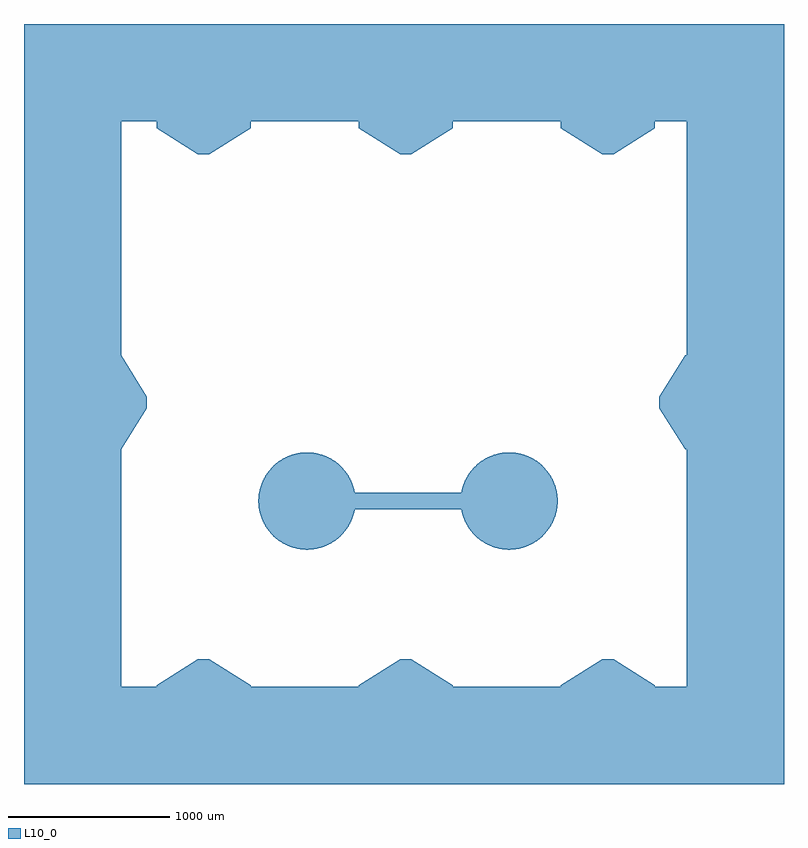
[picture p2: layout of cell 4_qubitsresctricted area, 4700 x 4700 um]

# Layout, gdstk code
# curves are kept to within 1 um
import gdstk
lib = gdstk.Library(unit=1e-6, precision=1e-09)
def R(c, l, rs):  # rectangles x0, y0, x1, y1
    for r in rs: c.add(gdstk.rectangle(r[:2], r[2:], *l))
def P(c, l, *ps):  # polygons
    for p in ps: c.add(gdstk.Polygon(p, *l))
L10_0 = (10, 0)

c_4_qubitsresctricted_area = lib.new_cell('4_qubitsresctricted area')
R(c_4_qubitsresctricted_area, L10_0, [(1977,1700,2773,1800)])
P(c_4_qubitsresctricted_area, L10_0, [(4700,0),(4700,4700),(0,4700),(0,600),(600,600),(600,2069),(760,2325),(760,2395),(600,2651),(600,4100),(820,4100),(820,4055),(1076,3895),(1146,3895),(1402,4055),(1402,4100),(2070,4100),(2070,4055),(2326,3895),(2396,3895),(2652,4055),(2652,4100),(3320,4100),(3320,4055),(3576,3895),(3646,3895),(3902,4055),(3902,4100),(4100,4100),(4100,2651),(4090,2651),(3930,2395),(3930,2325),(4090,2069),(4100,2069),(4100,600),(3902,600),(3902,610),(3646,770),(3576,770),(3320,610),(3320,600),(2652,600),(2652,610),(2396,770),(2326,770),(2070,610),(2070,600),(1402,600),(1402,610),(1146,770),(1076,770),(820,610),(820,600),(0,600),(0,0)],
  [(1450,1750),(2050,1750),(2048.54,1779.559),(2044.175,1808.83),(2036.947,1837.528),(2026.927,1865.375),(2014.212,1892.099),(1998.926,1917.44),(1981.217,1941.151),(1961.258,1963.003),(1939.243,1982.781),(1915.387,2000.294),(1889.921,2015.372),(1863.093,2027.867),(1835.165,2037.658),(1811.247,2043.682),(1782.013,2048.287),(1752.467,2049.99),(1722.898,2048.773),(1693.592,2044.649),(1664.835,2037.658),(1636.907,2027.867),(1610.079,2015.372),(1584.613,2000.294),(1560.757,1982.781),(1538.742,1963.003),(1518.783,1941.151),(1501.074,1917.44),(1485.788,1892.099),(1473.073,1865.375),(1463.053,1837.528),(1455.825,1808.83),(1451.46,1779.559)],
  [(2050,1750),(1450,1750),(1451.46,1720.441),(1455.825,1691.17),(1463.053,1662.472),(1473.073,1634.625),(1485.788,1607.901),(1501.074,1582.56),(1518.783,1558.849),(1538.742,1536.997),(1560.757,1517.219),(1584.613,1499.706),(1610.079,1484.628),(1636.907,1472.133),(1664.835,1462.342),(1688.753,1456.318),(1717.987,1451.713),(1747.533,1450.01),(1777.102,1451.227),(1806.408,1455.351),(1835.165,1462.342),(1863.093,1472.133),(1889.921,1484.628),(1915.387,1499.706),(1939.243,1517.219),(1961.258,1536.997),(1981.217,1558.849),(1998.926,1582.56),(2014.212,1607.901),(2026.927,1634.625),(2036.947,1662.472),(2044.175,1691.17),(2048.54,1720.441)],
  [(2700,1750),(3300,1750),(3298.54,1779.559),(3294.175,1808.83),(3286.947,1837.528),(3276.927,1865.375),(3264.212,1892.099),(3248.926,1917.44),(3231.217,1941.151),(3211.258,1963.003),(3189.243,1982.781),(3165.387,2000.294),(3139.921,2015.372),(3113.093,2027.867),(3085.165,2037.658),(3061.247,2043.682),(3032.013,2048.287),(3002.467,2049.99),(2972.898,2048.773),(2943.592,2044.649),(2914.835,2037.658),(2886.907,2027.867),(2860.079,2015.372),(2834.613,2000.294),(2810.757,1982.781),(2788.742,1963.003),(2768.783,1941.151),(2751.074,1917.44),(2735.788,1892.099),(2723.073,1865.375),(2713.053,1837.528),(2705.825,1808.83),(2701.46,1779.559)],
  [(3300,1750),(2700,1750),(2701.46,1720.441),(2705.825,1691.17),(2713.053,1662.472),(2723.073,1634.625),(2735.788,1607.901),(2751.074,1582.56),(2768.783,1558.849),(2788.742,1536.997),(2810.757,1517.219),(2834.613,1499.706),(2860.079,1484.628),(2886.907,1472.133),(2914.835,1462.342),(2938.753,1456.318),(2967.987,1451.713),(2997.533,1450.01),(3027.102,1451.227),(3056.408,1455.351),(3085.165,1462.342),(3113.093,1472.133),(3139.921,1484.628),(3165.387,1499.706),(3189.243,1517.219),(3211.258,1536.997),(3231.217,1558.849),(3248.926,1582.56),(3264.212,1607.901),(3276.927,1634.625),(3286.947,1662.472),(3294.175,1691.17),(3298.54,1720.441)])

lib.write_gds('4_qubitsresctricted_area.gds')
